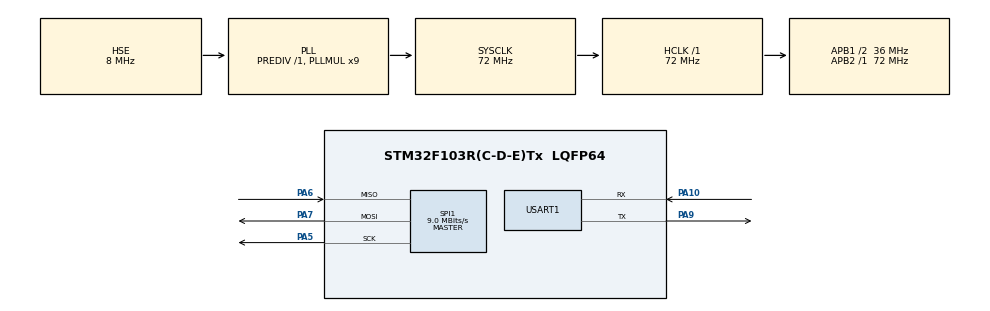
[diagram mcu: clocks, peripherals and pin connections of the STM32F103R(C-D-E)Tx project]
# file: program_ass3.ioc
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Mcu.Family=STM32F1
Mcu.Name=STM32F103R(C-D-E)Tx
Mcu.Package=LQFP64
NVIC.PriorityGroup=NVIC_PRIORITYGROUP_4
NVIC.TIM3_IRQn=true\:1\:0\:true\:false\:true\:true\:true\:true
NVIC.USART1_IRQn=true\:1\:0\:true\:false\:true\:true\:true\:true
PA10.Mode=Asynchronous
PA10.Signal=USART1_RX
PA13.Mode=Serial_Wire
PA13.Signal=SYS_JTMS-SWDIO
PA14.Mode=Serial_Wire
PA14.Signal=SYS_JTCK-SWCLK
PA5.Mode=Full_Duplex_Master
PA5.Signal=SPI1_SCK
PA6.Mode=Full_Duplex_Master
PA6.Signal=SPI1_MISO
PA7.Mode=Full_Duplex_Master
PA7.Signal=SPI1_MOSI
PA9.Mode=Asynchronous
PA9.Signal=USART1_TX
PD0-OSC_IN.Mode=HSE-External-Oscillator
PD0-OSC_IN.Signal=RCC_OSC_IN
PD1-OSC_OUT.Mode=HSE-External-Oscillator
PD1-OSC_OUT.Signal=RCC_OSC_OUT
ProjectManager.HeapSize=0x200
ProjectManager.StackSize=0x400
ProjectManager.TargetToolchain=STM32CubeIDE
RCC.AHBFreq_Value=72000000
RCC.APB1CLKDivider=RCC_HCLK_DIV2
RCC.APB1Freq_Value=36000000
RCC.APB1TimFreq_Value=72000000
RCC.APB2Freq_Value=72000000
RCC.APB2TimFreq_Value=72000000
RCC.HCLKFreq_Value=72000000
RCC.PLLMUL=RCC_PLL_MUL9
RCC.PLLSourceVirtual=RCC_PLLSOURCE_HSE
RCC.SYSCLKFreq_VALUE=72000000
RCC.SYSCLKSource=RCC_SYSCLKSOURCE_PLLCLK
RCC.USBFreq_Value=72000000
SPI1.BaudRatePrescaler=SPI_BAUDRATEPRESCALER_8
SPI1.CalculateBaudRate=9.0 MBits/s
SPI1.Direction=SPI_DIRECTION_2LINES
SPI1.Mode=SPI_MODE_MASTER
SPI1.VirtualType=VM_MASTER
TIM3.Period=999
TIM3.Prescaler=7199
USART1.VirtualMode=VM_ASYNC
VP_TIM3_VS_ClockSourceINT.Mode=Internal
board=custom

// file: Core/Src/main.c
/* USER CODE BEGIN Header */
/**
  ******************************************************************************
  * @file           : main.c
  * @brief          : Main program body
  ******************************************************************************
  * @attention
  *
  * Copyright (c) 2022 STMicroelectronics.
  * All rights reserved.
  *
  * This software is licensed under terms that can be found in the LICENSE file
  * in the root directory of this software component.
  * If no LICENSE file comes with this software, it is provided AS-IS.
  *
  ******************************************************************************
  */
/* USER CODE END Header */
#include "main.h"

/* USER CODE BEGIN Includes */

/* Private includes ----------------------------------------------------------*/
/* USER CODE BEGIN Includes */
#include <string.h>
#include <stdio.h>
#include <stdlib.h>
#include <stdint.h>
#include <time.h>
#include "sys.h"
#include "delay.h"
#include "picture.h"
//#include "usart.h"
#include "led.h"
#include "key.h"
#include "lcd.h"
#include "letter.h"
//#include "usmart.h"
#include "touch.h"
#include "24cxx.h"
#include "24l01.h" //通信驱动 基于spi进行通信
//#include "remote.h" 红外遥控驱动
/* USER CODE END Includes */

/* USER CODE BEGIN PD */
unsigned char DATA_TO_SEND[800];
int state_num = 0;
u8 STATE[30];
UART_HandleTypeDef huart1;
/* USER CODE END PD */

/* USER CODE BEGIN PM */
//清空屏幕并在右上角显�???"RST"
void Load_Drow_Dialog(void)
{
	LCD_Clear(WHITE);//清屏
 	POINT_COLOR=BLUE;//设置字体为蓝�???
	LCD_ShowString(lcddev.width-24,0,200,16,16,"RST");//显示清屏区域
  	POINT_COLOR=RED;//设置画笔蓝色
}
////////////////////////////////////////////////////////////////////////////////
//电容触摸屏专有部�???
//画水平线
//x0,y0:坐标
//len:线长�???
//color:颜色
void gui_draw_hline(u16 x0,u16 y0,u16 len,u16 color)
{
	if(len==0)return;
	LCD_Fill(x0,y0,x0+len-1,y0,color);
}
//画实心圆
//x0,y0:坐标
//r:半径
//color:颜色
void gui_fill_circle(u16 x0,u16 y0,u16 r,u16 color)
{
	u32 i;
	u32 imax = ((u32)r*707)/1000+1;
	u32 sqmax = (u32)r*(u32)r+(u32)r/2;
	u32 x=r;
	gui_draw_hline(x0-r,y0,2*r,color);
	for (i=1;i<=imax;i++)
	{
		if ((i*i+x*x)>sqmax)// draw lines from outside
		{
 			if (x>imax)
			{
				gui_draw_hline (x0-i+1,y0+x,2*(i-1),color);
				gui_draw_hline (x0-i+1,y0-x,2*(i-1),color);
			}
			x--;
		}
		// draw lines from inside (center)
		gui_draw_hline(x0-x,y0+i,2*x,color);
		gui_draw_hline(x0-x,y0-i,2*x,color);
	}
}
//两个数之差的绝对�???
//x1,x2：需取差值的两个�???
//返回值：|x1-x2|
u16 my_abs(u16 x1,u16 x2)
{
	if(x1>x2)return x1-x2;
	else return x2-x1;
}
//画一条粗�???
//(x1,y1),(x2,y2):线条的起始坐�???
//size：线条的粗细程度
//color：线条的颜色

void screen_print(){
	LCD_Clear(WHITE);//清屏
	POINT_COLOR=BLUE;//设置字体为蓝�??
	LCD_ShowString(lcddev.width-24,0,200,16,16,"RST");//显示清屏区域
	LCD_ShowString(0,0,200,24,24, "SHOW PICTURE");
	LCD_ShowString(60,60,200,24,24, "SEND MESSAGE");
	LCD_ShowString(0, lcddev.height-24, 200, 16, 16, STATE);
	POINT_COLOR=RED;//设置画笔为红�??

}

void screen_norm_print(){
//	LCD_Clear(WHITE);//清屏
	POINT_COLOR=BLUE;//设置字体为蓝�??
	LCD_ShowString(lcddev.width-24,0,200,16,16,"RST");//显示清屏区域
	LCD_ShowString(0,0,200,24,24, "SHOW PICTURE");
	LCD_ShowString(60,60,200,24,24, "SEND MESSAGE");
	LCD_ShowString(0, lcddev.height-24, 200, 16, 16, STATE);
	POINT_COLOR=RED;//设置画笔为红�??

}

void change_state(){
	if(state_num == 0){
		state_num = 1;
		sprintf(STATE, "STATE: ON");
	}else{
		state_num = 0;
		sprintf(STATE, "STATE: OFF");
	}
}

void lcd_draw_bline(u16 x1, u16 y1, u16 x2, u16 y2,u8 size,u16 color)
{
	u16 t;
	int xerr=0,yerr=0,delta_x,delta_y,distance;
	int incx,incy,uRow,uCol;
	if(x1<size|| x2<size||y1<size|| y2<size)return;
	delta_x=x2-x1; //计算坐标增量
	delta_y=y2-y1;
	uRow=x1;
	uCol=y1;
	if(delta_x>0)incx=1; //设置单步方向
	else if(delta_x==0)incx=0;//垂直�???
	else {incx=-1;delta_x=-delta_x;}
	if(delta_y>0)incy=1;
	else if(delta_y==0)incy=0;//水平�???
	else{incy=-1;delta_y=-delta_y;}
	if( delta_x>delta_y)distance=delta_x; //选取基本增量坐标�???
	else distance=delta_y;
	for(t=0;t<=distance+1;t++ )//画线输出
	{
		gui_fill_circle(uRow,uCol,size,color);//画点
		xerr+=delta_x ;
		yerr+=delta_y ;
		if(xerr>distance)
		{
			xerr-=distance;
			uRow+=incx;
		}
		if(yerr>distance)
		{
			yerr-=distance;
			uCol+=incy;
		}
	}
}
////////////////////////////////////////////////////////////////////////////////
//5个触控点的颜�???(电容触摸屏用)
const u16 POINT_COLOR_TBL[5]={RED,GREEN,BLUE,BROWN,GRED};
//电阻触摸屏测试函�???
void rtp_test(void)
{
	u8 key;
	u8 i=0;
	while(1)
	{
	 	key=KEY_Scan(0);
		tp_dev.scan(0);
		screen_norm_print();
		if(tp_dev.sta&TP_PRES_DOWN)			//触摸屏被按下
		{
		 	if(tp_dev.x[0]<lcddev.width&&tp_dev.y[0]<lcddev.height)
			{
				if(tp_dev.x[0]>(lcddev.width-24)&&tp_dev.y[0]<16){
					screen_print();//清除
				}
				else if(tp_dev.x[0]<80&&tp_dev.y[0]<24){
					LCD_ShowImage2(40,80);
				}
				else if(tp_dev.x[0]>60&&tp_dev.y[0]>60&&tp_dev.x[0]<180&&tp_dev.y[0]<100){
					sprintf(DATA_TO_SEND, "SEND DATA");
					HAL_UART_Transmit(&huart1, (uint8_t*)DATA_TO_SEND, strlen(DATA_TO_SEND), HAL_MAX_DELAY);
				}
				else if(tp_dev.x[0]>0&&tp_dev.y[0]>lcddev.height-24&&tp_dev.x[0]<80&&tp_dev.y[0]<lcddev.height){
					change_state();
				}
				else {
					TP_Draw_Big_Point(tp_dev.x[0],tp_dev.y[0],RED);//画图
				}
			}
		}else delay_ms(10);	//没有按键按下的时�???
		if(key==KEY0_PRES)	//KEY0按下,则执行校准程�???
		{
			LCD_Clear(WHITE);	//清屏
		    TP_Adjust();  		//屏幕校准
			TP_Save_Adjdata();
			Load_Drow_Dialog();
		}
		i++;
		if(i%20==0)LED0=!LED0;
	}
}
//电容触摸屏测试函�???
void ctp_test(void)
{
	u8 t=0;
	u8 i=0;
 	u16 lastpos[5][2];		//�???后一次的数据
	while(1)
	{
		tp_dev.scan(0);
		for(t=0;t<5;t++)
		{
			if((tp_dev.sta)&(1<<t))
			{
                //printf("X坐标:%d,Y坐标:%d\r\n",tp_dev.x[0],tp_dev.y[0]);
				if(tp_dev.x[t]<lcddev.width&&tp_dev.y[t]<lcddev.height)
				{
					if(lastpos[t][0]==0XFFFF)
					{
						lastpos[t][0] = tp_dev.x[t];
						lastpos[t][1] = tp_dev.y[t];
					}

					lcd_draw_bline(lastpos[t][0],lastpos[t][1],tp_dev.x[t],tp_dev.y[t],2,POINT_COLOR_TBL[t]);//画线
					lastpos[t][0]=tp_dev.x[t];
					lastpos[t][1]=tp_dev.y[t];
					if(tp_dev.x[t]>(lcddev.width-24)&&tp_dev.y[t]<20)
					{
						Load_Drow_Dialog();//清除
					}
				}
			}else lastpos[t][0]=0XFFFF;
		}

		delay_ms(5);i++;
		if(i%20==0)LED0=!LED0;
	}
}

/* USER CODE END PM */

SPI_HandleTypeDef hspi1;

TIM_HandleTypeDef htim3;

UART_HandleTypeDef huart1;

/* USER CODE BEGIN PV */
extern uint8_t rxBuffer[50];

int empty_x = 150, empty_y = 40;
#define empty_h 50
#define empty_w 50
#define H 320
#define W 240
u16 empty_image[(empty_h + 2) * (empty_w + 2)];
u16 fill_image[(empty_h + 2) * (empty_w + 2)];
char info[100];
extern int time_cnt;
extern TIM_HandleTypeDef htim3;
/* USER CODE END PV */

void SystemClock_Config(void);
static void MX_GPIO_Init(void);
static void MX_SPI1_Init(void);
static void MX_USART1_UART_Init(void);
static void MX_TIM3_Init(void);

int main(void)
{

  /* MCU Configuration--------------------------------------------------------*/

  /* Reset of all peripherals, Initializes the Flash interface and the Systick. */
  HAL_Init();

  /* USER CODE BEGIN Init */
  Stm32_Clock_Init(RCC_PLL_MUL9);   	//设置时钟,72M
	delay_init(72);               		//初始化延时函�???
//	uart_init(115200);					//初始化串�???
//	usmart_dev.init(84); 		  	  	//初始化USMART
	LED_Init();							//初始化LED
	KEY_Init();							//初始化按�???
	LCD_Init();							//初始化LCD
	tp_dev.init();				   		//触摸屏初始化
  /* USER CODE END Init */

  /* Configure the system clock */
  SystemClock_Config();

  /* Initialize all configured peripherals */
  MX_GPIO_Init();
  MX_SPI1_Init();
  MX_USART1_UART_Init();
  MX_TIM3_Init();
  /* USER CODE BEGIN 2 */
//  POINT_COLOR=RED;
//  	LCD_ShowString(30,50,200,16,16,"Mini STM32");
//  	LCD_ShowString(30,70,200,16,16,"TOUCH TEST");
//  	LCD_ShowString(30,90,200,16,16,"ATOM@ALIENTEK");
//  	LCD_ShowString(30,110,200,16,16,"2019/11/15");
//     	if(tp_dev.touchtype!=0XFF)
//  	{
//  		LCD_ShowString(30,130,200,16,16,"Press KEY0 to Adjust");//电阻屏才显示
//  	}
//  	delay_ms(1500);
//   	Load_Drow_Dialog();
//
//  	if(tp_dev.touchtype&0X80)ctp_test();//电容�??
//  	else rtp_test(); 					//电阻�??
  srand((unsigned)time(NULL));
  while (!picture_verify()) {}
  LCD_Clear(WHITE);
  while (!letter_verify()) LCD_Clear(WHITE);
  LCD_Clear(WHITE);
  sprintf(info, "You have passed!");
  LCD_ShowString(10, 150, 200, 16, 12, info);
  /* USER CODE END 2 */

  /* Infinite loop */

}

void SystemClock_Config(void)
{
  RCC_OscInitTypeDef RCC_OscInitStruct = {0};
  RCC_ClkInitTypeDef RCC_ClkInitStruct = {0};

  /** Initializes the RCC Oscillators according to the specified parameters
  * in the RCC_OscInitTypeDef structure.
  */
  RCC_OscInitStruct.OscillatorType = RCC_OSCILLATORTYPE_HSE;
  RCC_OscInitStruct.HSEState = RCC_HSE_ON;
  RCC_OscInitStruct.HSEPredivValue = RCC_HSE_PREDIV_DIV1;
  RCC_OscInitStruct.HSIState = RCC_HSI_ON;
  RCC_OscInitStruct.PLL.PLLState = RCC_PLL_ON;
  RCC_OscInitStruct.PLL.PLLSource = RCC_PLLSOURCE_HSE;
  RCC_OscInitStruct.PLL.PLLMUL = RCC_PLL_MUL9;
  if (HAL_RCC_OscConfig(&RCC_OscInitStruct) != HAL_OK)
  {
    Error_Handler();
  }

  /** Initializes the CPU, AHB and APB buses clocks
  */
  RCC_ClkInitStruct.ClockType = RCC_CLOCKTYPE_HCLK|RCC_CLOCKTYPE_SYSCLK
                              |RCC_CLOCKTYPE_PCLK1|RCC_CLOCKTYPE_PCLK2;
  RCC_ClkInitStruct.SYSCLKSource = RCC_SYSCLKSOURCE_PLLCLK;
  RCC_ClkInitStruct.AHBCLKDivider = RCC_SYSCLK_DIV1;
  RCC_ClkInitStruct.APB1CLKDivider = RCC_HCLK_DIV2;
  RCC_ClkInitStruct.APB2CLKDivider = RCC_HCLK_DIV1;

  if (HAL_RCC_ClockConfig(&RCC_ClkInitStruct, FLASH_LATENCY_2) != HAL_OK)
  {
    Error_Handler();
  }
}

static void MX_SPI1_Init(void)
{

  /* SPI1 parameter configuration*/
  hspi1.Instance = SPI1;
  hspi1.Init.Mode = SPI_MODE_MASTER;
  hspi1.Init.Direction = SPI_DIRECTION_2LINES;
  hspi1.Init.DataSize = SPI_DATASIZE_8BIT;
  hspi1.Init.CLKPolarity = SPI_POLARITY_LOW;
  hspi1.Init.CLKPhase = SPI_PHASE_1EDGE;
  hspi1.Init.NSS = SPI_NSS_SOFT;
  hspi1.Init.BaudRatePrescaler = SPI_BAUDRATEPRESCALER_8;
  hspi1.Init.FirstBit = SPI_FIRSTBIT_MSB;
  hspi1.Init.TIMode = SPI_TIMODE_DISABLE;
  hspi1.Init.CRCCalculation = SPI_CRCCALCULATION_DISABLE;
  hspi1.Init.CRCPolynomial = 10;
  if (HAL_SPI_Init(&hspi1) != HAL_OK)
  {
    Error_Handler();
  }

}

static void MX_TIM3_Init(void)
{

  TIM_ClockConfigTypeDef sClockSourceConfig = {0};
  TIM_MasterConfigTypeDef sMasterConfig = {0};

  htim3.Instance = TIM3;
  htim3.Init.Prescaler = 7199;
  htim3.Init.CounterMode = TIM_COUNTERMODE_UP;
  htim3.Init.Period = 999;
  htim3.Init.ClockDivision = TIM_CLOCKDIVISION_DIV1;
  htim3.Init.AutoReloadPreload = TIM_AUTORELOAD_PRELOAD_DISABLE;
  if (HAL_TIM_Base_Init(&htim3) != HAL_OK)
  {
    Error_Handler();
  }
  sClockSourceConfig.ClockSource = TIM_CLOCKSOURCE_INTERNAL;
  if (HAL_TIM_ConfigClockSource(&htim3, &sClockSourceConfig) != HAL_OK)
  {
    Error_Handler();
  }
  sMasterConfig.MasterOutputTrigger = TIM_TRGO_RESET;
  sMasterConfig.MasterSlaveMode = TIM_MASTERSLAVEMODE_DISABLE;
  if (HAL_TIMEx_MasterConfigSynchronization(&htim3, &sMasterConfig) != HAL_OK)
  {
    Error_Handler();
  }

}

static void MX_USART1_UART_Init(void)
{

  huart1.Instance = USART1;
  huart1.Init.BaudRate = 115200;
  huart1.Init.WordLength = UART_WORDLENGTH_8B;
  huart1.Init.StopBits = UART_STOPBITS_1;
  huart1.Init.Parity = UART_PARITY_NONE;
  huart1.Init.Mode = UART_MODE_TX_RX;
  huart1.Init.HwFlowCtl = UART_HWCONTROL_NONE;
  huart1.Init.OverSampling = UART_OVERSAMPLING_16;
  if (HAL_UART_Init(&huart1) != HAL_OK)
  {
    Error_Handler();
  }

}

static void MX_GPIO_Init(void)
{

  /* GPIO Ports Clock Enable */
  __HAL_RCC_GPIOD_CLK_ENABLE();
  __HAL_RCC_GPIOA_CLK_ENABLE();

}

/* USER CODE BEGIN 4 */
int picture_verify(){
  empty_x = rand()%(W - empty_w - 40) + 20, empty_y = rand()%(171 - empty_h - 20) + 10;
  sprintf(info, "Please drag the picture to verify.");
  LCD_ShowString(10, 150, 200, 16, 12, info);
  HAL_Delay(2000);
  time_cnt = 0;
  LCD_ShowPicture(0, 0, 240, 167, (uint16_t*)gImage);
  int cnt = 0;
  for (int j = 0; j <= empty_w + 1; j++) empty_image[cnt++] = RED;
  for (int j = empty_y; j < empty_y + empty_h; j++){
	  empty_image[cnt++] = RED;
	  for (int i = empty_x; i < empty_x + empty_w; i++) empty_image[cnt++] = LCD_ReadPoint(i, j);
	  empty_image[cnt++] = RED;
  }
  for (int j = 0; j <= empty_w + 1; j++) empty_image[cnt++] = RED;
  LCD_Color_Fill(0, 250, 0 + empty_h + 1, 250 + empty_w + 1, empty_image);
  HAL_TIM_Base_Start_IT(&htim3);
  while (1){
	  if (time_cnt > 50){
		  sprintf(info, "Fail to verify.                        ");
		  LCD_ShowString(10, 180, 200, 16, 16, info);
		  HAL_Delay(1000);
		  return 0;
	  }
	  tp_dev.scan(0);
	  if (tp_dev.sta & TP_PRES_DOWN){
		  HAL_Delay(50);
		  if (tp_dev.sta & TP_PRES_DOWN){
			  uint16_t x = tp_dev.x[0], y = tp_dev.y[0];
			  sprintf(info, "touched at (%d, %d)                          ", x, y);
			  LCD_ShowString(10, 200, 200, 16, 16, (uint8_t*)info);
			  sprintf(info, "time is %d                           ", time_cnt);
			  LCD_ShowString(10, 220, 200, 16, 16, (uint8_t*)info);
			  x = (x < 10) ? 10 : x;
			  x = (x > W - empty_w - 10) ? W - empty_w - 10 : x;
			  y = empty_y;
			  LCD_ShowPicture(0, 0, 240, 167, (uint16_t*)gImage);
			  int fill_cnt = 0;
			  for (int j = y; j < y + empty_h; j++){
				  for (int i = x; i < x + empty_w; i++) fill_image[fill_cnt++] = LCD_ReadPoint(i, j);
			  }
			  LCD_Fill(empty_x, empty_y, empty_x + empty_w, empty_y + empty_h, WHITE);
			  LCD_Color_Fill(x, y, x + empty_w + 1, y + empty_h + 1, empty_image);
			  LCD_Color_Fill(0, 250, 0 + empty_w - 1, 250 + empty_h - 1, fill_image);

			  float delta = abs((int)x - empty_x) / (float)(W);
			  if (delta - 0.01 >= 1e-5 && 0.1 - delta >= 1e-5 && time_cnt >= 10 && time_cnt <= 50){
				  sprintf(info, "Successfully verified.              ");
				  LCD_ShowString(10, 180, 200, 16, 16, info);
				  LCD_ShowPicture(0, 0, 240, 167, (uint16_t*)gImage);
				  HAL_Delay(1000);
				  return 1;
			  }
		  }
	  }
  }
}

typedef struct {
    uint16_t value;
    size_t index;
} Element;

int compare_elements(const void *a, const void *b) {
    return ((Element *)a)->value - ((Element *)b)->value;
}

int letter_verify(){
  int id = 0;
  int letter_y[7] = {144, 135, 146, 167, 143, 174, 145};
  sprintf(info, "Please click the picture to verify.");
  LCD_ShowString(10, 150, 250, 16, 12, info);
  HAL_Delay(2000);
  LCD_Clear(WHITE);
  while (1){
	  switch (id){
		  case 0:
			  LCD_ShowPicture(60, 20, 120, 72, (uint16_t*)gImage_1);
			  LCD_ShowString(10, 180, 200, 16, 24, (uint8_t*)"Click A 7 e       ");
			  break;
		  case 1:
			  LCD_ShowPicture(60, 20, 120, 67, (uint16_t*)gImage_2);
			  LCD_ShowString(10, 180, 200, 16, 24, (uint8_t*)"Click C 2 f       ");
			  break;
		  case 2:
			  LCD_ShowPicture(60, 20, 120, 83, (uint16_t*)gImage_1);
			  LCD_ShowString(10, 180, 200, 16, 24, (uint8_t*)"Click 7 e A       ");
			  break;
		  case 3:
			  LCD_ShowPicture(60, 20, 120, 83, (uint16_t*)gImage_4);
			  LCD_ShowString(10, 180, 200, 16, 24, (uint8_t*)"Click y h B       ");
			  break;
		  case 4:
			  LCD_ShowPicture(60, 20, 120, 71, (uint16_t*)gImage_5);
			  LCD_ShowString(10, 180, 200, 16, 24, (uint8_t*)"Click T o m       ");
			  break;
		  case 5:
			  LCD_ShowPicture(60, 20, 120, 87, (uint16_t*)gImage_6);
			  LCD_ShowString(10, 180, 200, 16, 24, (uint8_t*)"Click M i l k     ");
			  break;
		  case 6:
			  LCD_ShowPicture(60, 20, 120, 72, (uint16_t*)gImage_7);
			  LCD_ShowString(10, 180, 200, 16, 24, (uint8_t*)"Click T o m       ");
			  break;
		  case 7:
			  LCD_ShowPicture(60, 20, 120, 83, (uint16_t*)gImage_4);
			  LCD_ShowString(10, 180, 200, 16, 24, (uint8_t*)"Click B y h       ");
			  break;
		  case 8:
			  LCD_ShowPicture(60, 20, 120, 87, (uint16_t*)gImage_6);
			  LCD_ShowString(10, 180, 200, 16, 24, (uint8_t*)"Click i l M k     ");
			  break;
		  case 9:
			  LCD_ShowPicture(60, 20, 120, 71, (uint16_t*)gImage_5);
			  LCD_ShowString(10, 180, 200, 16, 24, (uint8_t*)"Click o m T       ");
			  break;
		  case 10:
			  LCD_ShowPicture(60, 20, 120, 72, (uint16_t*)gImage_7);
			  LCD_ShowString(10, 180, 200, 16, 24, (uint8_t*)"Click m o T       ");
			  break;
	  }

	  LCD_ShowString(10, 260, 250, 16, 24, (uint8_t*)"Refresh    Confirm");

	  int letter_cnt = 0;
	  uint16_t letter_x[5], letter_y[5];
	  while (1){
		  tp_dev.scan(0);
		  if (tp_dev.sta & TP_PRES_DOWN){
			  HAL_Delay(50);
			  if (tp_dev.sta & TP_PRES_DOWN){
				  uint16_t x = tp_dev.x[0], y = tp_dev.y[0];
				  if (x <= 120 && y >= 260){ // refresh
					  break;
				  }
				  else if (x >= 120 && y >= 260){ // confirm
					  Element *elements = malloc(letter_cnt * sizeof(Element));
					  for (size_t i = 0; i < letter_cnt; i++) {
						  elements[i].value = letter_x[i];
						  elements[i].index = i;
					  }
					  qsort(elements, letter_cnt, sizeof(Element), compare_elements);
					  size_t *letter_rank = malloc(letter_cnt * sizeof(size_t));
					  for (size_t i = 0; i < letter_cnt; i++) {
						  letter_rank[elements[i].index] = i + 1;
					  }

					  char *rank_str = malloc((letter_cnt * 2) * sizeof(char));
					  rank_str[0] = '\0';

					  for (size_t i = 0; i < letter_cnt; i++) {
						  sprintf(rank_str + strlen(rank_str), "%d", letter_rank[i]);
						  if (i < letter_cnt - 1) {
							  strcat(rank_str, " ");
						  }
					  }
					  char *info = rank_str;
					  strcat(info, " is your click rank                ");
					  LCD_ShowString(10, 160, 200, 16, 12, (uint8_t*)info);

					  free(elements);
					  free(letter_rank);

					  if (((id == 0 || id == 1) && strcmp(rank_str, "1 3 2 is your click rank                ") == 0) ||
						  (id == 2 && strcmp(rank_str, "2 3 1 is your click rank                ") == 0) ||
					      (id == 3 && strcmp(rank_str, "2 3 1 is your click rank                ") == 0) ||
					      (id == 9 && strcmp(rank_str, "2 3 1 is your click rank                ") == 0) ||
					      (id == 10 && strcmp(rank_str, "3 2 1 is your click rank                ") == 0) ||
						  (id == 4 && strcmp(rank_str, "1 2 3 is your click rank                ") == 0) ||
						  (id == 5 && strcmp(rank_str, "1 2 3 4 is your click rank                ") == 0) ||
						  (id == 6 && strcmp(rank_str, "3 1 2 is your click rank                ") == 0) ||
						  (id == 7 && strcmp(rank_str, "1 2 3 is your click rank                ") == 0) ||
						  (id == 8 && strcmp(rank_str, "2 3 1 4 is your click rank                ") == 0)
						  ){
						  LCD_ShowString(40, 100, 200, 16, 24, (uint8_t*)"Accepted");
						  HAL_Delay(3000);
						  free(rank_str);
						  free(info);
						  return 1;
					  }
					  else{
						  LCD_ShowString(40, 100, 200, 16, 24, (uint8_t*)"Wrong   ");
						  HAL_Delay(3000);
						  free(rank_str);
						  free(info);
						  break;
					  }
				  }
				  else{
					  letter_x[letter_cnt] = x;
					  letter_y[letter_cnt] = y;
					  letter_cnt++;
					  sprintf(info, "%d: Click at (%d, %d)            ", letter_cnt, x, y);
					  LCD_ShowString(10, 230, 200, 16, 12, (uint8_t*)info);
				  }
			  }
		  }
	  }

	  id = (id + 1) % 11;

	  HAL_Delay(1000);
	  LCD_Clear(WHITE);
  }
  return 0;
}
/* USER CODE END 4 */

void Error_Handler(void)
{
  __disable_irq();
  while (1)
  {
  }
}
